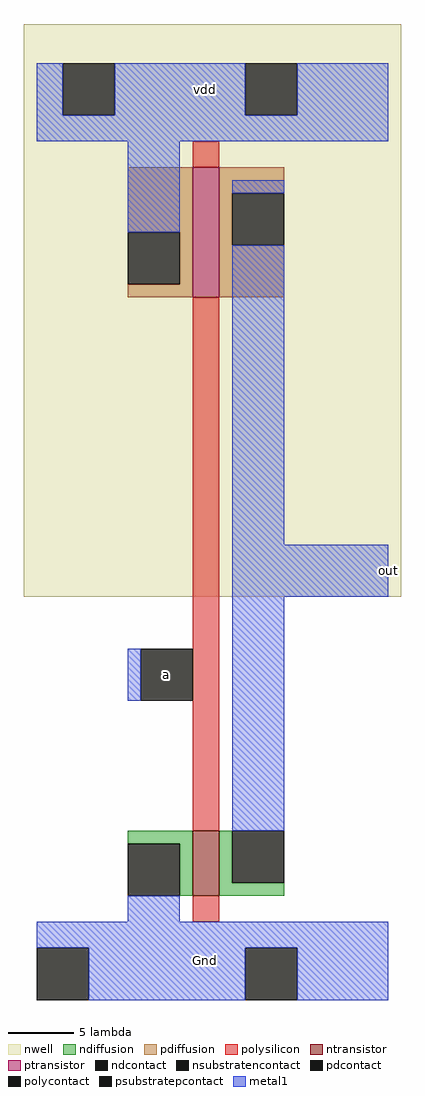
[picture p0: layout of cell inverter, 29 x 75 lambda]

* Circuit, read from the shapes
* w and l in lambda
.subckt inverter Gnd a out vdd
M1 out a Gnd Gnd nfet w=5 l=2
M2 out a vdd vdd pfet w=10 l=2
.ends

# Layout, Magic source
magic
tech min2
<< nwell >>
rect -12 24 17 68
<< ntransistor >>
rect 1 1 3 6
<< ptransistor >>
rect 1 47 3 57
<< ndiffusion >>
rect -4 5 1 6
rect 0 1 1 5
rect 3 2 4 6
rect 3 1 8 2
<< pdiffusion >>
rect -4 52 1 57
rect 0 48 1 52
rect -4 47 1 48
rect 3 55 8 57
rect 3 51 4 55
rect 3 47 8 51
<< ndcontact >>
rect -4 1 0 5
rect 4 2 8 6
<< pdcontact >>
rect -4 48 0 52
rect 4 51 8 55
<< psubstratepcontact >>
rect -11 -7 -7 -3
rect 5 -7 9 -3
<< nsubstratencontact >>
rect -9 61 -5 65
rect 5 61 9 65
<< polysilicon >>
rect 1 57 3 59
rect 1 6 3 47
rect 1 -1 3 1
<< polycontact >>
rect -3 16 1 20
<< metal1 >>
rect -11 61 -9 65
rect -5 61 5 65
rect 9 61 16 65
rect -11 59 16 61
rect -4 52 0 59
rect 4 55 8 56
rect 4 28 8 51
rect 4 24 16 28
rect -4 16 -3 20
rect 4 6 8 24
rect -4 -1 0 1
rect -11 -3 16 -1
rect -7 -7 5 -3
rect 9 -7 16 -3
<< labels >>
rlabel polycontact -1 18 -1 18 1 a
rlabel metal1 2 -4 2 -4 1 Gnd
rlabel metal1 2 63 2 63 5 vdd
rlabel metal1 16 24 16 28 7 out
<< end >>
